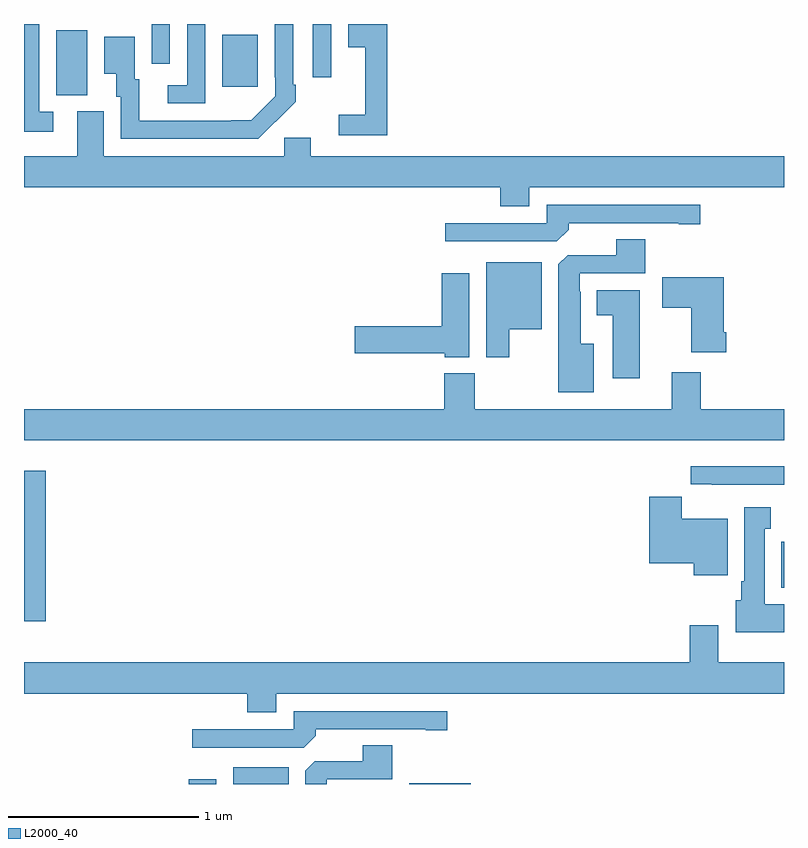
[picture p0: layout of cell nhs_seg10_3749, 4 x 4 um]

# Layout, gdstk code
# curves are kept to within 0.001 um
import gdstk
lib = gdstk.Library(unit=1e-6, precision=1e-09)
def R(c, l, rs):  # rectangles x0, y0, x1, y1
    for r in rs: c.add(gdstk.rectangle(r[:2], r[2:], *l))
def P(c, l, *ps):  # polygons
    for p in ps: c.add(gdstk.Polygon(p, *l))
L2000_40 = (2000, 40)

nhs_seg10_3749 = lib.new_cell('nhs_seg10_3749')
R(nhs_seg10_3749, L2000_40, [(315.866,1306.5,316.012,1306.525), (316.1,1306.5,316.393,1306.588), (317.028,1306.5,317.35,1306.504), (315,1307.357,315.115,1308.148), (318.986,1307.534,319,1307.776), (315.17,1310.125,315.334,1310.468), (316.043,1310.169,316.231,1310.443), (316.521,1310.22,316.617,1310.5), (315.672,1310.292,315.768,1310.5)])
P(nhs_seg10_3749, L2000_40, [(315.154,1310.037),(315.081,1310.037),(315.081,1310.5),(315,1310.5),(315,1309.932),(315.154,1309.932)],
  [(316.913,1310.5),(316.706,1310.5),(316.706,1310.378),(316.796,1310.378),(316.796,1310.023),(316.656,1310.023),(316.656,1309.914),(316.913,1309.914)],
  [(315.954,1310.5),(315.858,1310.5),(315.858,1310.178),(315.756,1310.178),(315.756,1310.082),(315.954,1310.082)],
  [(316.325,1309.987),(316.326,1309.986),(316.431,1310.091),(316.431,1310.179),(316.416,1310.179),(316.416,1310.5),(316.32,1310.5),(316.32,1310.221),(316.323,1310.221),(316.323,1310.121),(316.195,1309.993),(315.607,1309.992),(315.607,1310.208),(315.583,1310.208),(315.583,1310.434),(315.422,1310.434),(315.422,1310.237),(315.485,1310.237),(315.485,1310.118),(315.51,1310.118),(315.51,1309.896),(316.234,1309.896)],
  [(317.659,1309.64),(319,1309.64),(319,1309.804),(316.51,1309.804),(316.51,1309.902),(316.371,1309.902),(316.371,1309.804),(315.421,1309.804),(315.421,1310.04),(315.281,1310.04),(315.281,1309.804),(315,1309.804),(315,1309.64),(317.507,1309.64),(317.507,1309.541),(317.659,1309.541)],
  [(317.867,1309.418),(317.867,1309.452),(318.446,1309.452),(318.446,1309.447),(318.559,1309.447),(318.559,1309.548),(317.751,1309.548),(317.751,1309.452),(317.217,1309.452),(317.217,1309.356),(317.805,1309.356)],
  [(317.998,1308.817),(317.929,1308.817),(317.929,1309.091),(317.925,1309.091),(317.925,1309.188),(318.269,1309.188),(318.269,1309.367),(318.116,1309.367),(318.116,1309.284),(317.862,1309.284),(317.813,1309.235),(317.813,1308.563),(317.998,1308.563)],
  [(317.554,1308.893),(317.725,1308.893),(317.725,1309.246),(317.432,1309.246),(317.432,1308.747),(317.554,1308.747)],
  [(317.344,1309.189),(317.198,1309.189),(317.198,1308.908),(316.74,1308.908),(316.74,1308.766),(317.214,1308.766),(317.214,1308.746),(317.344,1308.746)],
  [(318.695,1308.877),(318.682,1308.877),(318.682,1309.168),(318.36,1309.168),(318.36,1309.006),(318.512,1309.006),(318.512,1308.773),(318.695,1308.773)],
  [(318.241,1309.099),(318.014,1309.099),(318.014,1308.968),(318.098,1308.968),(318.098,1308.636),(318.241,1308.636)],
  [(319,1308.472),(318.563,1308.472),(318.563,1308.667),(318.41,1308.667),(318.41,1308.472),(317.373,1308.472),(317.373,1308.661),(317.213,1308.661),(317.213,1308.472),(315,1308.472),(315,1308.308),(319,1308.308)],
  [(319,1308.172),(318.51,1308.172),(318.51,1308.077),(318.619,1308.077),(318.619,1308.075),(319,1308.075)],
  [(318.703,1307.896),(318.463,1307.896),(318.463,1308.012),(318.29,1308.012),(318.29,1307.663),(318.524,1307.663),(318.524,1307.6),(318.703,1307.6)],
  [(319,1307.446),(318.898,1307.446),(318.898,1307.843),(318.931,1307.843),(318.931,1307.956),(318.791,1307.956),(318.791,1307.566),(318.776,1307.566),(318.776,1307.466),(318.746,1307.466),(318.746,1307.3),(319,1307.3)],
  [(316.327,1306.976),(319,1306.976),(319,1307.14),(318.655,1307.14),(318.655,1307.335),(318.503,1307.335),(318.503,1307.14),(315,1307.14),(315,1306.976),(316.175,1306.976),(316.175,1306.877),(316.327,1306.877)],
  [(316.535,1306.754),(316.535,1306.788),(317.114,1306.788),(317.114,1306.783),(317.227,1306.783),(317.227,1306.884),(316.419,1306.884),(316.419,1306.788),(315.885,1306.788),(315.885,1306.692),(316.473,1306.692)],
  [(316.593,1306.524),(316.937,1306.524),(316.937,1306.703),(316.784,1306.703),(316.784,1306.62),(316.53,1306.62),(316.481,1306.571),(316.481,1306.5),(316.593,1306.5)])

lib.write_gds('nhs_seg10_3749.gds')
